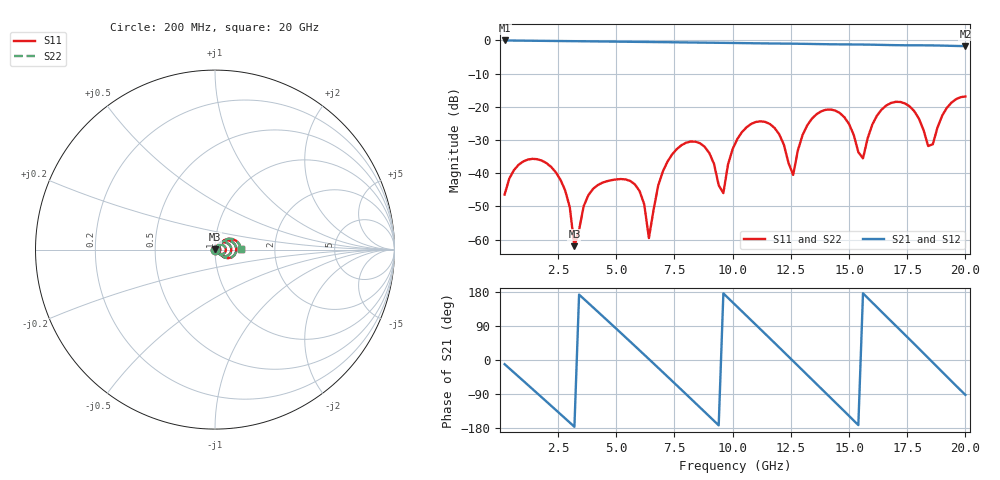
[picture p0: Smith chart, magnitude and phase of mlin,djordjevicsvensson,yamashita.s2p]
! Created Wed May 11 08:05:52 2022
# hz S ma R 50
! 2 Port Network Data from SP1.SP block
! freq  magS11  angS11  magS21  angS21  magS12  angS12  magS22  angS22
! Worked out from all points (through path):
!   100 points, 200 MHz to 20 GHz, reference 50 ohm
!   highest |S21| = -0.02 dB at 200 MHz (marker M1); lowest = -1.7 dB at 20 GHz (marker M2)
!   group delay of S21, straight-line fit = 163 ps
!   lowest |S11| = -62.0 dB at 3.2 GHz (marker M3), VSWR 1.00, Z = 50 + j0.0763 ohm
!   |S11| at or under -10 dB: start of sweep to end of sweep
!   |S22| runs from -62.0 to -16.9 dB; largest |S21 - S12| = 0
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2e8  0.004788 -117.1  0.9981 -11.0  0.9981 -11.0  0.004788 -117.1
1.2e9  0.01607 178.5  0.9897 -65.8  0.9897 -65.8  0.01607 178.5
2e9  0.01421 129.9  0.9832 -109.8  0.9832 -109.8  0.01421 129.9
2.8e9  0.005538 80.7  0.9767 -154.0  0.9767 -154.0  0.005538 80.7
3.2e9  0.0007987 72.6  0.9733 -176.3  0.9733 -176.3  0.0007987 72.6
3.6e9  0.003208 -165.1  0.97 161.4  0.97 161.4  0.003208 -165.1
5e9  0.008086 67.3  0.9582 82.5  0.9582 82.5  0.008086 67.3
6e9  0.005394 -19.4  0.9497 25.4  0.9497 25.4  0.005394 -19.4
6.4e9  0.001057 -3.9  0.9463 2.4  0.9463 2.4  0.001057 -3.9
6.8e9  0.006529 86.0  0.9429 -20.7  0.9429 -20.7  0.006529 86.0
8.2e9  0.03005 3.7  0.9304 -102.0  0.9304 -102.0  0.03005 3.7
9.6e9  0.005031 47.2  0.9186 175.7  0.9186 175.7  0.005031 47.2
1.02e10  0.03277 52.8  0.9131 140.2  0.9131 140.2  0.03277 52.8
1.14e10  0.05928 -11.8  0.9012 68.9  0.9012 68.9  0.05928 -11.8
1.26e10  0.009445 27.2  0.8924 -2.9  0.8924 -2.9  0.009445 27.2
1.34e10  0.06596 38.6  0.8838 -51.1  0.8838 -51.1  0.06596 38.6
1.44e10  0.0881 -13.7  0.8731 -111.3  0.8731 -111.3  0.0881 -13.7
1.54e10  0.02078 -33.3  0.8677 -171.8  0.8677 -171.8  0.02078 -33.3
1.68e10  0.1142 14.7  0.8505 103.0  0.8505 103.0  0.1142 14.7
1.78e10  0.0863 -33.9  0.8437 42.4  0.8437 42.4  0.0863 -33.9
1.84e10  0.0257 -21.4  0.8417 5.7  0.8417 5.7  0.0257 -21.4
2e10  0.1433 1.2  0.8199 -92.2  0.8199 -92.2  0.1433 1.2
